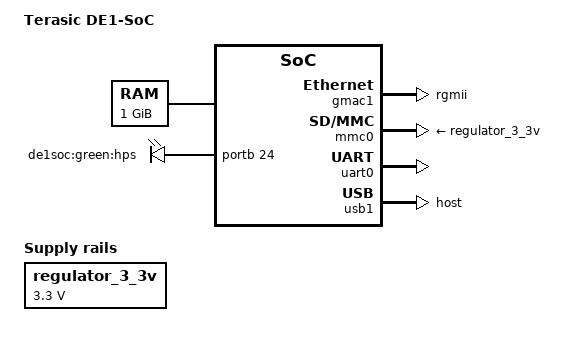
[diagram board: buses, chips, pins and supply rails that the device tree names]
// SPDX-License-Identifier: GPL-2.0+
/* Minimal DE1-SoC bring-up DT. Pin routing checked against this project's
 * HPS handoff and top-level VHDL; Ethernet timing still needs board testing.
 */
#include "socfpga_cyclone5.dtsi"

/ {
    model = "Terasic DE1-SoC";
    compatible = "terasic,de1soc", "altr,socfpga-cyclone5", "altr,socfpga";

    chosen {
        stdout-path = "serial0:115200n8";
    };
    memory@0 {
        device_type = "memory";
        reg = <0x0 0x40000000>;
    };
    aliases {
        ethernet0 = &gmac1;
    };
    regulator_3_3v: regulator {
        compatible = "regulator-fixed";
        regulator-name = "3.3V";
        regulator-min-microvolt = <3300000>;
        regulator-max-microvolt = <3300000>;
    };
    leds {
        compatible = "gpio-leds";
        hps-led {
            label = "de1soc:green:hps";
            /* GPIO bank 1 begins at HPS_GPIO29: GPIO53 = portb24. */
            gpios = <&portb 24 0>;
            /* The preserved kernel enables cpu, but not heartbeat. */
            linux,default-trigger = "cpu";
        };
    };
};

&gmac1 {
    status = "okay";
    phy-mode = "rgmii";
    /* Preserve the reference's KSZ9021 timing for initial bring-up.
     * Verify link stability and throughput on the actual DE1-SoC.
     */
    rxd0-skew-ps = <0>;
    rxd1-skew-ps = <0>;
    rxd2-skew-ps = <0>;
    rxd3-skew-ps = <0>;
    txen-skew-ps = <0>;
    txc-skew-ps = <2600>;
    rxdv-skew-ps = <0>;
    rxc-skew-ps = <2000>;
};
&gpio0 { status = "okay"; };
&gpio1 { status = "okay"; };
&gpio2 { status = "okay"; };
&mmc0 {
    /* No SoCDK portb18 card-detect GPIO. Base dtsi uses broken-cd polling. */
    status = "okay";
    vmmc-supply = <&regulator_3_3v>;
    vqmmc-supply = <&regulator_3_3v>;
};
&uart0 { status = "okay"; };
&usb1 {
    status = "okay";
    dr_mode = "host";
};
